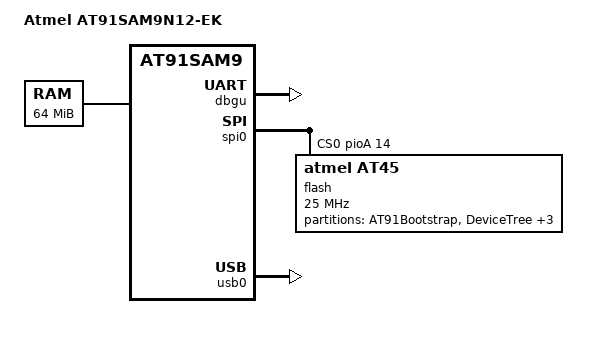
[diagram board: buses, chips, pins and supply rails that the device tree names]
/*
 * at91sam9n12ek.dts - Device Tree file for AT91SAM9N12-EK board
 *
 *  Copyright (C) 2012 Atmel,
 *                2012 Hong Xu <hong.xu@atmel.com>
 *
 * Licensed under GPLv2 or later.
 */
/dts-v1/;
#include "at91sam9n12.dtsi"

/ {
    model = "Atmel AT91SAM9N12-EK";
    compatible = "atmel,at91sam9n12ek", "atmel,at91sam9n12", "atmel,at91sam9";

    memory {
        reg = <0x20000000 0x4000000>;
    };

    clocks {
        main_xtal {
            clock-frequency = <16000000>;
        };
    };

    ahb {
        apb {
            dbgu: serial@fffff200 {
                status = "okay";
            };

            spi0: spi@f0000000 {
                status = "okay";
                cs-gpios = <&pioA 14 0>, <0>, <0>, <0>;
                flash@0 {
                    status = "okay";
                    compatible = "atmel,at45";
                    spi-max-frequency = <25000000>;
                    reg = <0>;

                    partitions {
                        compatible = "fixed-partitions";
                        #address-cells = <1>;
                        #size-cells = <1>;

                        partition@0 {
                            label = "AT91Bootstrap";
                            reg = <0x00 0x26D8>;
                            read-only;
                        };

                        partition@2800 {
                            label = "DeviceTree";
                            reg = <0x2800 0x4B00>;
                            read-only;
                        };

                        partition@7300 {
                            label = "zImage";
                            reg = <0x7300 0x1D8D00>;
                            read-only;
                        };

                        partition@1E0000 {
                            label = "RootFS";
                            reg = <0x1E0000 0x237C00>;
                            read-only;
                        };

                        partition@417C00 {
                            label = "NonVolatile";
                            reg = <0x417C00 0x8400>;
                        };
                    };
                };
            };
        };

        usb0: ohci@500000 {
            num-ports = <1>;
            status = "okay";
        };
    };
};
